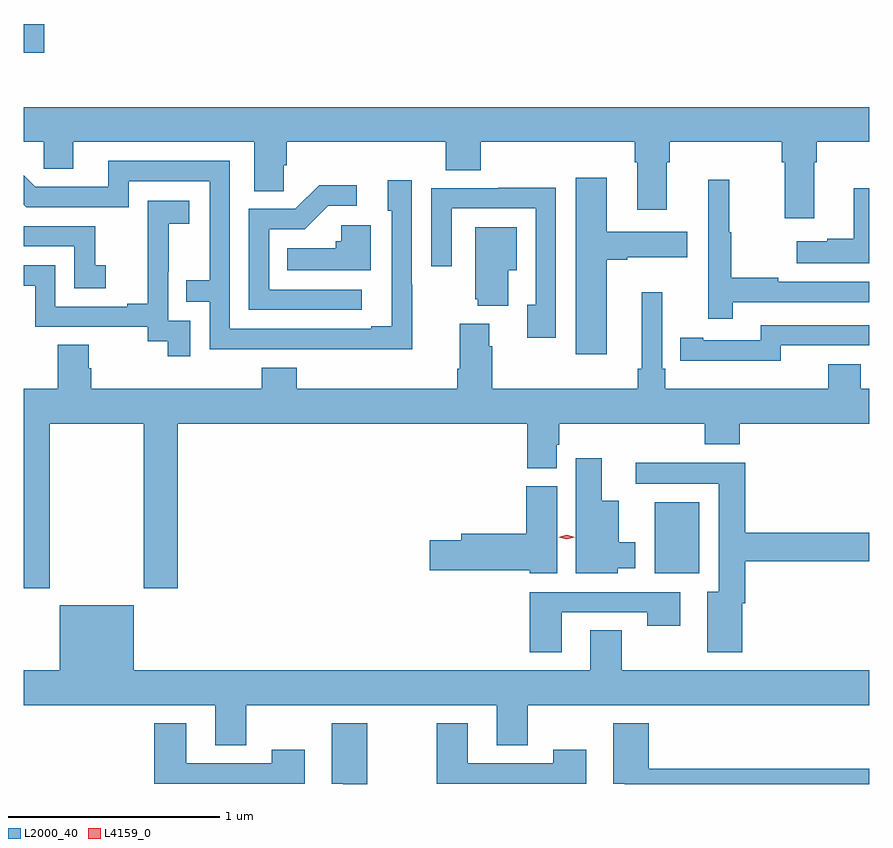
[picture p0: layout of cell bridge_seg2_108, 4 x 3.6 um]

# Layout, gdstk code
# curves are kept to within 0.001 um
import gdstk
lib = gdstk.Library(unit=1e-6, precision=1e-09)
def R(c, l, rs):  # rectangles x0, y0, x1, y1
    for r in rs: c.add(gdstk.rectangle(r[:2], r[2:], *l))
def P(c, l, *ps):  # polygons
    for p in ps: c.add(gdstk.Polygon(p, *l))
L2000_40 = (2000, 40)
L4159_0 = (4159, 0)

bridge_seg2_108 = lib.new_cell('bridge_seg2_108')
R(bridge_seg2_108, L2000_40, [(558.674,617.624,558.886,617.959), (555.69,620.087,555.787,620.222)])
P(bridge_seg2_108, L2000_40, [(555.69,619.664),(555.786,619.664),(555.786,619.537),(555.925,619.537),(555.925,619.664),(556.781,619.664),(556.781,619.432),(556.92,619.432),(556.92,619.555),(556.934,619.555),(556.934,619.664),(557.687,619.664),(557.687,619.531),(557.852,619.531),(557.852,619.664),(558.581,619.664),(558.581,619.568),(558.593,619.568),(558.593,619.344),(558.733,619.344),(558.733,619.568),(558.746,619.568),(558.746,619.664),(559.277,619.664),(559.277,619.568),(559.289,619.568),(559.289,619.302),(559.429,619.302),(559.429,619.568),(559.442,619.568),(559.442,619.664),(559.69,619.664),(559.69,619.828),(555.69,619.828)],
  [(557.529,618.989),(557.526,618.989),(557.526,619.483),(557.411,619.483),(557.411,619.338),(557.43,619.338),(557.43,618.793),(557.333,618.793),(557.333,618.78),(556.665,618.78),(556.665,619.575),(556.091,619.575),(556.091,619.452),(555.744,619.452),(555.69,619.506),(555.69,619.368),(555.702,619.356),(556.188,619.356),(556.188,619.479),(556.569,619.479),(556.569,619.01),(556.459,619.01),(556.459,618.909),(556.569,618.909),(556.569,618.684),(557.529,618.683)],
  [(558.448,619.106),(558.544,619.106),(558.544,619.118),(558.829,619.118),(558.829,619.24),(558.448,619.24),(558.448,619.495),(558.302,619.495),(558.302,618.66),(558.448,618.66)],
  [(559.043,618.906),(559.69,618.906),(559.69,619.002),(559.259,619.002),(559.259,619.022),(559.036,619.022),(559.036,619.236),(559.028,619.236),(559.028,619.486),(558.927,619.486),(558.927,618.828),(559.043,618.828)],
  [(557.29,618.966),(556.851,618.966),(556.851,619.251),(557.02,619.251),(557.131,619.362),(557.266,619.362),(557.266,619.46),(557.087,619.46),(556.974,619.347),(556.755,619.347),(556.755,618.87),(557.29,618.87)],
  [(558.207,619.448),(557.935,619.448),(557.935,619.446),(557.619,619.446),(557.619,619.077),(557.715,619.077),(557.715,619.35),(558.111,619.35),(558.111,618.894),(558.071,618.894),(558.071,618.738),(558.207,618.738)],
  [(559.69,619.444),(559.616,619.444),(559.616,619.205),(559.49,619.205),(559.49,619.195),(559.347,619.195),(559.347,619.091),(559.69,619.091)],
  [(556.479,618.819),(556.374,618.819),(556.374,619.049),(556.376,619.049),(556.376,619.277),(556.474,619.277),(556.474,619.387),(556.276,619.387),(556.276,619.181),(556.277,619.181),(556.277,618.898),(556.181,618.898),(556.181,618.885),(555.84,618.885),(555.84,619.08),(555.69,619.08),(555.69,618.984),(555.744,618.984),(555.744,618.789),(556.278,618.789),(556.278,618.721),(556.371,618.721),(556.371,618.651),(556.479,618.651)],
  [(557.332,619.27),(557.193,619.27),(557.193,619.194),(557.167,619.194),(557.167,619.162),(556.936,619.162),(556.936,619.058),(557.332,619.058)],
  [(556.078,619.081),(556.029,619.081),(556.029,619.266),(555.69,619.266),(555.69,619.17),(555.93,619.17),(555.93,618.972),(556.078,618.972)],
  [(557.983,619.058),(558.022,619.058),(558.022,619.261),(557.825,619.261),(557.825,618.921),(557.837,618.921),(557.837,618.89),(557.983,618.89)],
  [(556.258,617.553),(556.418,617.553),(556.418,618.332),(558.071,618.332),(558.071,618.121),(558.211,618.121),(558.211,618.231),(558.224,618.231),(558.224,618.332),(558.911,618.332),(558.911,618.233),(559.076,618.233),(559.076,618.332),(559.69,618.332),(559.69,618.496),(559.649,618.496),(559.649,618.613),(559.496,618.613),(559.496,618.496),(558.725,618.496),(558.725,618.592),(558.711,618.592),(558.711,618.952),(558.614,618.952),(558.614,618.592),(558.595,618.592),(558.595,618.496),(557.906,618.496),(557.906,618.698),(557.893,618.698),(557.893,618.805),(557.753,618.805),(557.753,618.592),(557.741,618.592),(557.741,618.496),(556.982,618.496),(556.982,618.595),(556.817,618.595),(556.817,618.496),(556.01,618.496),(556.01,618.594),(555.997,618.594),(555.997,618.704),(555.85,618.704),(555.85,618.496),(555.69,618.496),(555.69,617.553),(555.813,617.553),(555.813,618.332),(556.258,618.332)],
  [(559.272,618.702),(559.69,618.702),(559.69,618.798),(559.176,618.798),(559.176,618.726),(558.904,618.726),(558.904,618.739),(558.796,618.739),(558.796,618.63),(558.904,618.63),(558.904,618.629),(559.272,618.629)],
  [(558.501,617.648),(558.583,617.648),(558.583,617.77),(558.505,617.77),(558.505,617.968),(558.424,617.968),(558.424,618.169),(558.302,618.169),(558.302,617.624),(558.501,617.624)],
  [(559.09,617.483),(559.103,617.483),(559.103,617.68),(559.69,617.68),(559.69,617.816),(559.103,617.816),(559.103,618.146),(558.585,618.146),(558.585,618.048),(558.977,618.048),(558.977,617.536),(558.923,617.536),(558.923,617.25),(559.09,617.25)],
  [(558.214,618.036),(558.068,618.036),(558.068,617.81),(557.759,617.81),(557.759,617.78),(557.61,617.78),(557.61,617.638),(558.084,617.638),(558.084,617.624),(558.214,617.624)],
  [(558.235,617.439),(558.64,617.439),(558.64,617.376),(558.796,617.376),(558.796,617.535),(558.083,617.535),(558.083,617.25),(558.235,617.25)],
  [(556.743,617),(557.927,617),(557.927,616.81),(558.075,616.81),(558.075,617),(559.69,617),(559.69,617.164),(558.519,617.164),(558.519,617.354),(558.371,617.354),(558.371,617.164),(556.21,617.164),(556.21,617.473),(555.86,617.473),(555.86,617.164),(555.69,617.164),(555.69,617),(556.595,617),(556.595,616.81),(556.743,616.81)],
  [(559.69,616.699),(558.646,616.699),(558.646,616.915),(558.479,616.915),(558.479,616.628),(558.533,616.628),(558.533,616.627),(559.69,616.627)],
  [(557.02,616.789),(556.864,616.789),(556.864,616.725),(556.459,616.725),(556.459,616.915),(556.307,616.915),(556.307,616.629),(557.02,616.629)],
  [(558.352,616.789),(558.196,616.789),(558.196,616.725),(557.791,616.725),(557.791,616.915),(557.644,616.915),(557.644,616.629),(558.352,616.629)],
  [(557.314,616.915),(557.147,616.915),(557.147,616.628),(557.201,616.628),(557.201,616.627),(557.314,616.627)])
P(bridge_seg2_108, L4159_0, [(558.258,617.785),(558.22,617.795),(558.22,617.795),(558.22,617.795),(558.258,617.805),(558.297,617.795),(558.297,617.795),(558.297,617.795)])

lib.write_gds('bridge_seg2_108.gds')
